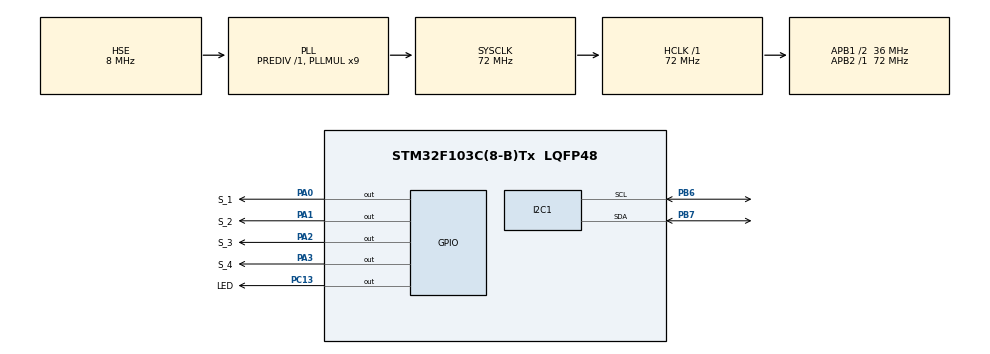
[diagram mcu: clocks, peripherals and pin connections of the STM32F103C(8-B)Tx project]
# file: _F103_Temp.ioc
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FREERTOS.CountingSemaphores01=c_start_sett,2,Dynamic,NULL
FREERTOS.INCLUDE_vTaskDelete=0
FREERTOS.Queues01=q_print_lcd,16,int16_t,0,Dynamic,NULL,NULL
FREERTOS.Tasks01=defaultTask,0,128,StartDefaultTask,Default,NULL,Dynamic,NULL,NULL;t_get_sens,0,256,get_sens,Default,NULL,Dynamic,NULL,NULL;t_lcd,0,128,lcd,Default,NULL,Dynamic,NULL,NULL
FREERTOS.configTOTAL_HEAP_SIZE=4096
FREERTOS.configUSE_COUNTING_SEMAPHORES=1
Mcu.Family=STM32F1
Mcu.Name=STM32F103C(8-B)Tx
Mcu.Package=LQFP48
NVIC.I2C1_EV_IRQn=true\:5\:0\:false\:false\:true\:true\:true\:true
NVIC.PriorityGroup=NVIC_PRIORITYGROUP_4
NVIC.TIM4_IRQn=true\:0\:0\:false\:false\:true\:false\:false\:true
NVIC.TimeBase=TIM4_IRQn
NVIC.TimeBaseIP=TIM4
PA0-WKUP.GPIO_Label=S_1
PA0-WKUP.GPIO_ModeDefaultOutputPP=GPIO_MODE_OUTPUT_OD
PA0-WKUP.GPIO_Speed=GPIO_SPEED_FREQ_HIGH
PA0-WKUP.Signal=GPIO_Output
PA1.GPIO_Label=S_2
PA1.GPIO_ModeDefaultOutputPP=GPIO_MODE_OUTPUT_OD
PA1.GPIO_Speed=GPIO_SPEED_FREQ_HIGH
PA1.Signal=GPIO_Output
PA13.Mode=Serial_Wire
PA13.Signal=SYS_JTMS-SWDIO
PA14.Mode=Serial_Wire
PA14.Signal=SYS_JTCK-SWCLK
PA2.GPIO_Label=S_3
PA2.GPIO_ModeDefaultOutputPP=GPIO_MODE_OUTPUT_OD
PA2.GPIO_Speed=GPIO_SPEED_FREQ_HIGH
PA2.Signal=GPIO_Output
PA3.GPIO_Label=S_4
PA3.GPIO_ModeDefaultOutputPP=GPIO_MODE_OUTPUT_OD
PA3.GPIO_Speed=GPIO_SPEED_FREQ_HIGH
PA3.PinState=GPIO_PIN_RESET
PA3.Signal=GPIO_Output
PB6.Mode=I2C
PB6.Signal=I2C1_SCL
PB7.Mode=I2C
PB7.Signal=I2C1_SDA
PC13-TAMPER-RTC.GPIO_Label=LED
PC13-TAMPER-RTC.Signal=GPIO_Output
PD0-OSC_IN.Mode=HSE-External-Oscillator
PD0-OSC_IN.Signal=RCC_OSC_IN
PD1-OSC_OUT.Mode=HSE-External-Oscillator
PD1-OSC_OUT.Signal=RCC_OSC_OUT
ProjectManager.HeapSize=0x200
ProjectManager.StackSize=0x400
ProjectManager.TargetToolchain=STM32CubeIDE
RCC.AHBFreq_Value=72000000
RCC.APB1CLKDivider=RCC_HCLK_DIV2
RCC.APB1Freq_Value=36000000
RCC.APB1TimFreq_Value=72000000
RCC.APB2Freq_Value=72000000
RCC.APB2TimFreq_Value=72000000
RCC.HCLKFreq_Value=72000000
RCC.PLLMUL=RCC_PLL_MUL9
RCC.PLLSourceVirtual=RCC_PLLSOURCE_HSE
RCC.SYSCLKFreq_VALUE=72000000
RCC.SYSCLKSource=RCC_SYSCLKSOURCE_PLLCLK
RCC.USBFreq_Value=72000000
VP_FREERTOS_VS_CMSIS_V1.Mode=CMSIS_V1
VP_SYS_VS_tim4.Mode=TIM4
board=custom

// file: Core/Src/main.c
/* USER CODE BEGIN Header */
/**
  ******************************************************************************
  * @file           : main.c
  * @brief          : Main program body
  ******************************************************************************
  * @attention
  *
  * <h2><center>&copy; Copyright (c) 2021 STMicroelectronics.
  * All rights reserved.</center></h2>
  *
  * This software component is licensed by ST under BSD 3-Clause license,
  * the "License"; You may not use this file except in compliance with the
  * License. You may obtain a copy of the License at:
  *                        opensource.org/licenses/BSD-3-Clause
  *
  ******************************************************************************
  */
/* USER CODE END Header */
#include "main.h"
#include "cmsis_os.h"

/* USER CODE BEGIN Includes */
#include "ds18b20.h"
/* USER CODE END Includes */

/* USER CODE BEGIN PTD */
#define    DWT_CYCCNT    *(volatile uint32_t*)0xE0001004
#define    DWT_CONTROL   *(volatile uint32_t*)0xE0001000
#define    SCB_DEMCR     *(volatile uint32_t*)0xE000EDFC

/* USER CODE END PTD */

I2C_HandleTypeDef hi2c1;

osThreadId defaultTaskHandle;
osThreadId t_get_sensHandle;
osThreadId t_lcdHandle;
osMessageQId q_print_lcdHandle;
osSemaphoreId c_start_settHandle;
/* USER CODE BEGIN PV */

char str[16] = {0,};
uint32_t count_tic = 0;

/* USER CODE END PV */

void SystemClock_Config(void);
static void MX_GPIO_Init(void);
static void MX_I2C1_Init(void);
void StartDefaultTask(void const * argument);
void get_sens(void const * argument);
void lcd(void const * argument);

/* USER CODE BEGIN 0 */

void dwt_init(void)
{
	SCB_DEMCR |= CoreDebug_DEMCR_TRCENA_Msk; // разрешаем использовать счётчик
	DWT_CONTROL |= DWT_CTRL_CYCCNTENA_Msk;   // запускаем счётчик
}

void delay_micros(uint32_t us)
{
    uint32_t us_count_tic =  us * (SystemCoreClock / 1000000); // получаем кол-во тактов за 1 мкс и умножаем на наше значение
    DWT->CYCCNT = 0U; // обнуляем счётчик
    while(DWT->CYCCNT < us_count_tic);
}

/* USER CODE END 0 */

int main(void)
{

  /* MCU Configuration--------------------------------------------------------*/

  /* Reset of all peripherals, Initializes the Flash interface and the Systick. */
  HAL_Init();

  /* Configure the system clock */
  SystemClock_Config();

  /* Initialize all configured peripherals */
  MX_GPIO_Init();
  MX_I2C1_Init();
  /* USER CODE BEGIN 2 */
  dwt_init();
  //init_sens( SKIP_ROM );

  /* USER CODE END 2 */

  /* Create the semaphores(s) */
  /* definition and creation of c_start_sett */
  osSemaphoreDef(c_start_sett);
  c_start_settHandle = osSemaphoreCreate(osSemaphore(c_start_sett), 2);

  /* Create the queue(s) */
  /* definition and creation of q_print_lcd */
  osMessageQDef(q_print_lcd, 16, int16_t);
  q_print_lcdHandle = osMessageCreate(osMessageQ(q_print_lcd), NULL);

  /* Create the thread(s) */
  /* definition and creation of defaultTask */
  osThreadDef(defaultTask, StartDefaultTask, osPriorityNormal, 0, 128);
  defaultTaskHandle = osThreadCreate(osThread(defaultTask), NULL);

  /* definition and creation of t_get_sens */
  osThreadDef(t_get_sens, get_sens, osPriorityNormal, 0, 256);
  t_get_sensHandle = osThreadCreate(osThread(t_get_sens), NULL);

  /* definition and creation of t_lcd */
  osThreadDef(t_lcd, lcd, osPriorityNormal, 0, 128);
  t_lcdHandle = osThreadCreate(osThread(t_lcd), NULL);

  /* Start scheduler */
  osKernelStart();

  /* We should never get here as control is now taken by the scheduler */
  /* Infinite loop */
  while (1)
  {

  }
}

void SystemClock_Config(void)
{
  RCC_OscInitTypeDef RCC_OscInitStruct = {0};
  RCC_ClkInitTypeDef RCC_ClkInitStruct = {0};

  /** Initializes the RCC Oscillators according to the specified parameters
  * in the RCC_OscInitTypeDef structure.
  */
  RCC_OscInitStruct.OscillatorType = RCC_OSCILLATORTYPE_HSE;
  RCC_OscInitStruct.HSEState = RCC_HSE_ON;
  RCC_OscInitStruct.HSEPredivValue = RCC_HSE_PREDIV_DIV1;
  RCC_OscInitStruct.HSIState = RCC_HSI_ON;
  RCC_OscInitStruct.PLL.PLLState = RCC_PLL_ON;
  RCC_OscInitStruct.PLL.PLLSource = RCC_PLLSOURCE_HSE;
  RCC_OscInitStruct.PLL.PLLMUL = RCC_PLL_MUL9;
  if (HAL_RCC_OscConfig(&RCC_OscInitStruct) != HAL_OK)
  {
    Error_Handler();
  }
  /** Initializes the CPU, AHB and APB buses clocks
  */
  RCC_ClkInitStruct.ClockType = RCC_CLOCKTYPE_HCLK|RCC_CLOCKTYPE_SYSCLK
                              |RCC_CLOCKTYPE_PCLK1|RCC_CLOCKTYPE_PCLK2;
  RCC_ClkInitStruct.SYSCLKSource = RCC_SYSCLKSOURCE_PLLCLK;
  RCC_ClkInitStruct.AHBCLKDivider = RCC_SYSCLK_DIV1;
  RCC_ClkInitStruct.APB1CLKDivider = RCC_HCLK_DIV2;
  RCC_ClkInitStruct.APB2CLKDivider = RCC_HCLK_DIV1;

  if (HAL_RCC_ClockConfig(&RCC_ClkInitStruct, FLASH_LATENCY_2) != HAL_OK)
  {
    Error_Handler();
  }
}

static void MX_I2C1_Init(void)
{

  hi2c1.Instance = I2C1;
  hi2c1.Init.ClockSpeed = 100000;
  hi2c1.Init.DutyCycle = I2C_DUTYCYCLE_2;
  hi2c1.Init.OwnAddress1 = 0;
  hi2c1.Init.AddressingMode = I2C_ADDRESSINGMODE_7BIT;
  hi2c1.Init.DualAddressMode = I2C_DUALADDRESS_DISABLE;
  hi2c1.Init.OwnAddress2 = 0;
  hi2c1.Init.GeneralCallMode = I2C_GENERALCALL_DISABLE;
  hi2c1.Init.NoStretchMode = I2C_NOSTRETCH_DISABLE;
  if (HAL_I2C_Init(&hi2c1) != HAL_OK)
  {
    Error_Handler();
  }

}

static void MX_GPIO_Init(void)
{
  GPIO_InitTypeDef GPIO_InitStruct = {0};

  /* GPIO Ports Clock Enable */
  __HAL_RCC_GPIOC_CLK_ENABLE();
  __HAL_RCC_GPIOD_CLK_ENABLE();
  __HAL_RCC_GPIOA_CLK_ENABLE();
  __HAL_RCC_GPIOB_CLK_ENABLE();

  /*Configure GPIO pin Output Level */
  HAL_GPIO_WritePin(LED_GPIO_Port, LED_Pin, GPIO_PIN_RESET);

  /*Configure GPIO pin Output Level */
  HAL_GPIO_WritePin(GPIOA, S_1_Pin|S_2_Pin|S_3_Pin|S_4_Pin, GPIO_PIN_RESET);

  /*Configure GPIO pin : LED_Pin */
  GPIO_InitStruct.Pin = LED_Pin;
  GPIO_InitStruct.Mode = GPIO_MODE_OUTPUT_PP;
  GPIO_InitStruct.Pull = GPIO_NOPULL;
  GPIO_InitStruct.Speed = GPIO_SPEED_FREQ_LOW;
  HAL_GPIO_Init(LED_GPIO_Port, &GPIO_InitStruct);

  /*Configure GPIO pins : S_1_Pin S_2_Pin S_3_Pin S_4_Pin */
  GPIO_InitStruct.Pin = S_1_Pin|S_2_Pin|S_3_Pin|S_4_Pin;
  GPIO_InitStruct.Mode = GPIO_MODE_OUTPUT_OD;
  GPIO_InitStruct.Pull = GPIO_NOPULL;
  GPIO_InitStruct.Speed = GPIO_SPEED_FREQ_HIGH;
  HAL_GPIO_Init(GPIOA, &GPIO_InitStruct);

}

void StartDefaultTask(void const * argument)
{
	for(;;)
	{
		osDelay(1);
	}
}

void get_sens(void const * argument)
{
  /* USER CODE BEGIN get_sens */
  /* Infinite loop */
	for(;;)
	{
		if( uxSemaphoreGetCount(c_start_settHandle) == 0 )
		{

			xSemaphoreGive(c_start_settHandle);
		}

		osDelay(1);
	}
  /* USER CODE END get_sens */
}

void lcd(void const * argument)
{
  /* USER CODE BEGIN lcd */
  /* Infinite loop */
	for(;;)
	{
		uint8_t data[4] = { 0x00, };

		if( xQueueReceive( t_lcdHandle , &data[0], 0 ) == pdPASS &&
				xQueueReceive( t_lcdHandle , &data[1], 0 ) == pdPASS &&
				xQueueReceive( t_lcdHandle , &data[2], 0 ) == pdPASS &&
				xQueueReceive( t_lcdHandle , &data[3], 0 ) == pdPASS )
		{
			//print lcd
		}

		osDelay(1);
	}
  /* USER CODE END lcd */
}

 /**
  * @brief  Period elapsed callback in non blocking mode
  * @note   This function is called  when TIM4 interrupt took place, inside
  * HAL_TIM_IRQHandler(). It makes a direct call to HAL_IncTick() to increment
  * a global variable "uwTick" used as application time base.
  * @param  htim : TIM handle
  * @retval None
  */
void HAL_TIM_PeriodElapsedCallback(TIM_HandleTypeDef *htim)
{
  if (htim->Instance == TIM4) {
    HAL_IncTick();
  }
}

void Error_Handler(void)
{
  __disable_irq();
  while (1)
  {
  }
}

/************************ (C) COPYRIGHT STMicroelectronics *****END OF FILE****/
